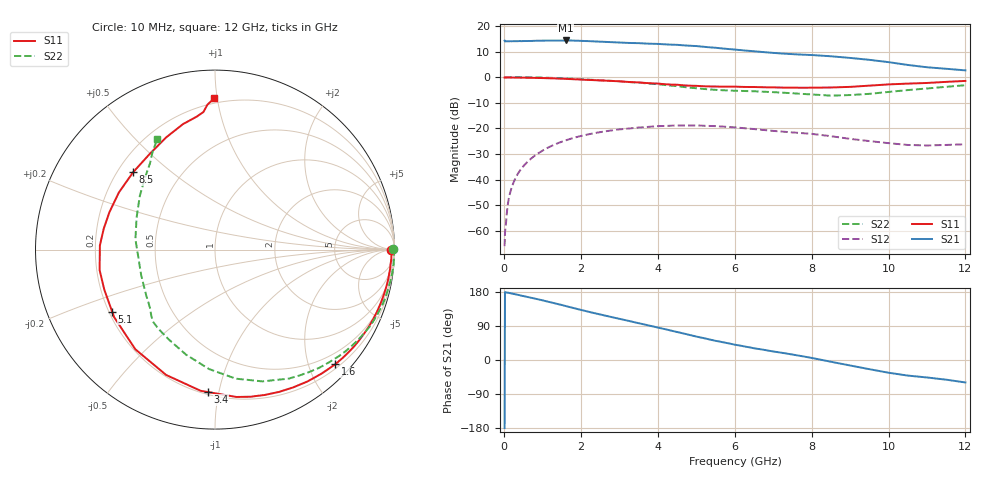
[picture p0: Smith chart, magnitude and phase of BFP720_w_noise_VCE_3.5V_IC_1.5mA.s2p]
! Infineon Technologies  Discrete & RF Semiconductors
! BFP720
! VCE =  3.5 V,  IC =  1.5 mA
! Common Emitter S-Parameters:  Aug 2012
# GHz  S  MA  R  50
!  f  S11  S21  S12  S22
! GHz  MAG  ANG  MAG  ANG  MAG  ANG  MAG  ANG
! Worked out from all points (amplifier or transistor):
!   105 points, 10 MHz to 12 GHz, reference 50 ohm
!   highest |S21| = 14.3 dB at 1.6 GHz (marker M1)
!   |S21| within 3 dB of that: start of sweep to 5.592 GHz
!   unconditionally stable (mu >= 1): start of sweep to 10.37 MHz; 7.825 GHz to 11.81 GHz
!   at 300 MHz: K = 0.02, MSG = 26.6 dB, |S12| = -39.2 dB
!   at 3.6 GHz: K = 0.28, MSG = 16.4 dB, |S12| = -19.6 dB
!   at 12 GHz: K = 0.87, MSG = 14.4 dB, |S12| = -26.2 dB
!   lowest NFmin = 0.43 dB at 450 MHz
!   S11 on the Smith chart (normalised r, x): 10 MHz: 97, +0; 1.6 GHz: 0.28, -2.47; 3.4 GHz: 0.22, -0.93; 5.1 GHz: 0.21, -0.27; 8.5 GHz: 0.26, +0.37; 12 GHz: 0.17, +0.98
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0.01  0.9795 0.0  5.16 -179.7  0.0005 -7.6  0.9936 0.3
0.02  0.9831 -0.5  4.974 179.2  0.0009 86.4  0.9985 -0.3
0.08  0.9835 -2.0  5.009 177.9  0.0027 85.3  0.9982 -1.6
0.12  0.9834 -3.0  5.014 177.2  0.0043 86.7  0.9988 -2.4
0.35  0.9793 -8.9  5.041 172.1  0.0128 83.2  0.9963 -6.8
1  0.9591 -26.3  5.158 157.4  0.0368 70.8  0.9781 -20.0
1.6  0.9257 -43.6  5.204 142.4  0.0583 58.0  0.9421 -32.4
2.1  0.8889 -57.7  5.075 129.7  0.0738 47.0  0.9014 -42.7
2.8  0.8434 -76.4  4.817 113.1  0.0912 32.7  0.8439 -56.3
3.4  0.7946 -92.9  4.624 99.4  0.102 20.9  0.7882 -68.1
4.1  0.7366 -114.6  4.406 83.3  0.1109 7.6  0.7134 -83.1
4.5  0.7109 -128.6  4.276 73.8  0.114 0.1  0.6665 -92.8
5.1  0.6692 -148.9  3.975 59.7  0.1131 -11.2  0.5965 -107.6
5.5  0.6559 -160.1  3.746 50.6  0.1106 -18.4  0.5646 -116.6
6.1  0.6484 -172.3  3.398 38.7  0.1029 -27.3  0.5401 -126.3
7  0.6308 169.4  2.975 22.5  0.0891 -37.0  0.5092 -134.3
8  0.623 149.3  2.704 5.5  0.078 -44.7  0.4593 -146.8
8.5  0.6277 136.6  2.557 -4.6  0.0703 -48.5  0.4353 -160.8
9.5  0.682 113.5  2.178 -24.2  0.0564 -48.8  0.4716 157.9
10  0.7216 104.3  1.963 -33.6  0.0514 -47.5  0.5139 144.7
10.5  0.7474 97.9  1.73 -41.1  0.0474 -43.4  0.5589 134.3
12  0.8435 90.3  1.355 -59.3  0.0489 -32.5  0.6947 117.5
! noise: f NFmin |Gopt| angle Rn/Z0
0.45  0.43  0.72  5  0.33
1.8  0.58  0.67  30  0.28
2.4  0.68  0.58  79  0.2
5.5  0.99  0.47  92  0.09
10  1.51  0.5  -113  0.24
